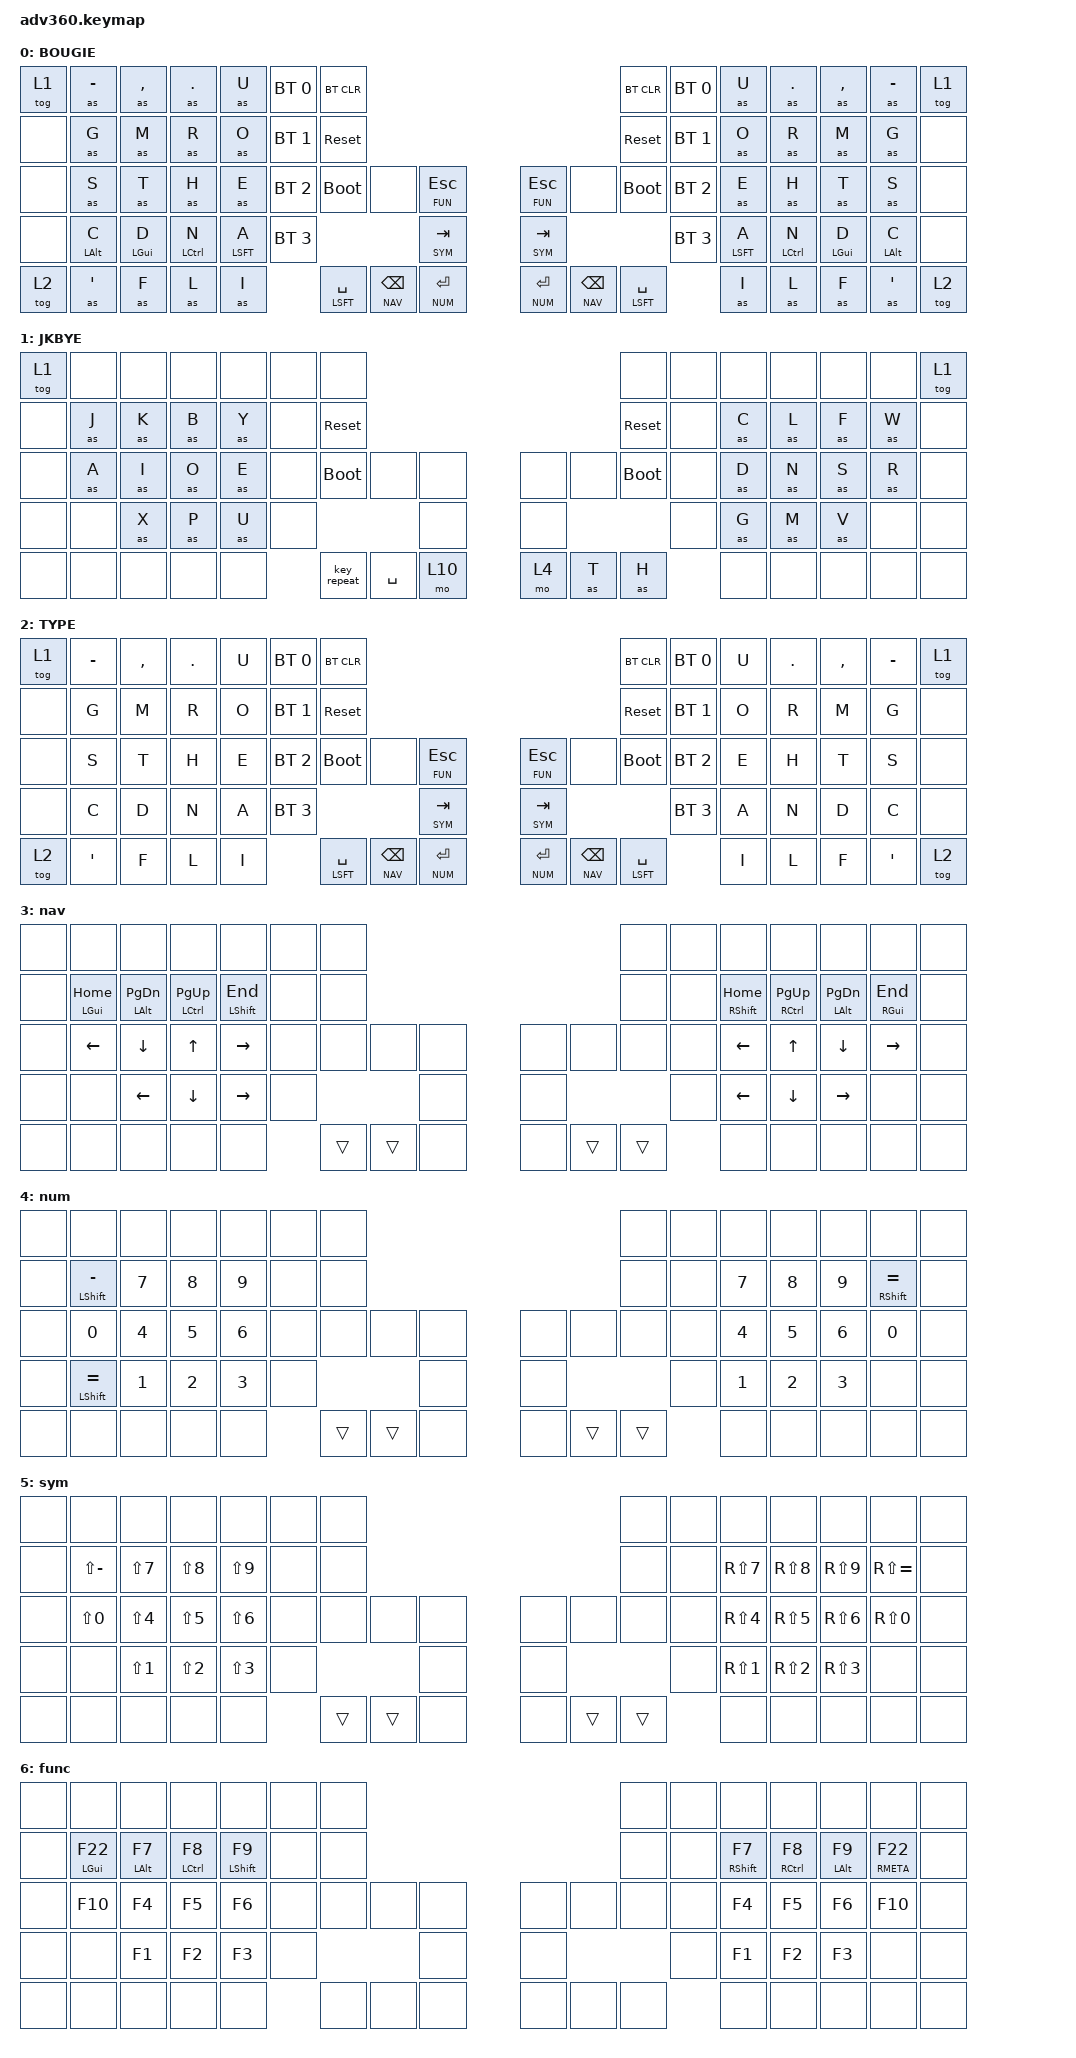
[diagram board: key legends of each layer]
#include <dt-bindings/zmk/stp.h>
#include <behaviors.dtsi>
#include <dt-bindings/zmk/backlight.h>
#include <dt-bindings/zmk/bt.h>
#include <dt-bindings/zmk/ext_power.h>
#include <dt-bindings/zmk/keys.h>
#include <dt-bindings/zmk/outputs.h>


/* =========================
 *  BOUGIE KEYS — LEFT HAND
 *  Rows: Top=row 3, Home=row 2, Bottom=row 1
 *  Columns used on left: 1..4
 * ========================= */
#define TLP 15  /* RC(3,1)  top-left pinky   */
#define TLR 16  /* RC(3,2)  top-left ring    */
#define TLM 17  /* RC(3,3)  top-left middle  */
#define TLI 18  /* RC(3,4)  top-left index   */

#define HLP 29  /* RC(2,1)  home-left pinky  */
#define HLR 30  /* RC(2,2)  home-left ring   */
#define HLM 31  /* RC(2,3)  home-left middle */
#define HLI 32  /* RC(2,4)  home-left index  */

#define BLP 47  /* RC(1,1)  bottom-left pinky */
#define BLR 48  /* RC(1,2)  bottom-left ring  */
#define BLM 49  /* RC(1,3)  bottom-left middle*/
#define BLI 50  /* RC(1,4)  bottom-left index */

/* =========================
 *  BOUGIE KEYS — RIGHT HAND
 *  Rows: Top=row 3, Home=row 2, Bottom=row 1
 *  Right side ordered outer→inner: cols 19..16
 * ========================= */
#define TRP 26  /* RC(3,19) top-right pinky  */
#define TRR 25  /* RC(3,18) top-right ring   */
#define TRM 24  /* RC(3,17) top-right middle */
#define TRI 23  /* RC(3,16) top-right index  */

#define HRP 44  /* RC(2,19) home-right pinky */
#define HRR 43  /* RC(2,18) home-right ring  */
#define HRM 42  /* RC(2,17) home-right middle*/
#define HRI 41  /* RC(2,16) home-right index */

#define BRP 58  /* RC(1,19) bottom-right pinky */
#define BRR 57  /* RC(1,18) bottom-right ring  */
#define BRM 56  /* RC(1,17) bottom-right middle*/
#define BRI 55  /* RC(1,16) bottom-right index */

/* =========================
 *  THUMBS — 3 per hand (inner, outer, center)
 *  Left:  RC(0,9)=inner, RC(0,7)=outer, RC(0,8)=center
 *  Right: mirror → RC(0,16)=inner, RC(0,15)=outer, RC(0,17)=center
 * ========================= */
#define LIT 67  /* RC(0,9)  left inner thumb  */
#define LOT 65  /* RC(0,7)  left outer thumb  */
#define LCT 66  /* RC(0,8)  left center thumb */

#define RIT 68  /* RC(0,16) right inner thumb */
#define ROT 70  /* RC(0,15) right outer thumb */
#define RCT 69  /* RC(0,17) right center thumb */

/* =========================
 *  FUTURE THUMBS: T4 / T5 / T6
 *  T4: row 1, outer  → RC(1,9) / RC(1,10)
 *  T5: row 2, outer  → RC(2,8) / RC(2,11)
 *  T6: row 2, inner  → RC(2,9) / RC(2,10)
 * ========================= */
#define L4T 52  /* RC(1,9)  left T4 */
#define R4T 53  /* RC(1,10) right T4 */

#define L5T 35  /* RC(2,8)  left T5 */
#define R5T 38  /* RC(2,11) right T5 */

#define L6T 36  /* RC(2,9)  left T6 */
#define R6T 37  /* RC(2,10) right T6 */

// LAYERS
#define BOU  0
#define JKB  1
#define TYP  2
#define NAV  3
#define NUM  4
#define SYM  5
#define FUN  6

// CONFIG
#define COMBO_TIMEOUT 70
#define COMBO_LAYERS BOU
#define STICKY_TIMEOUT 1000
#define QUICK_TAP_TIMEOUT 125
#define HOLD_TAP_TIMEOUT 195

&gresc { keep-mods = <(MOD_LSFT|MOD_RSFT)>; };

/ {
    behaviors {
        #include "behaviors.dtsi"
        #include "kinesis_macros.dtsi"
        #include "version.dtsi"
    };

    macros {
        #include "macros.dtsi"
    };

    combos {
        compatible = "zmk,combos";
        #include "combos.dtsi"
    };

    keymap {
        compatible = "zmk,keymap";

        bougie {
            display-name = "BOUGIE";
            bindings = <
&tog 1  &as MINUS   &as COMMA   &as DOT     &as U       &bt BT_SEL 0  &bt BT_CLR                                                                                    &bt BT_CLR       &bt BT_SEL 0  &as U       &as DOT     &as COMMA   &as MINUS   &tog 1
&none   &as G       &as M       &as R       &as O       &bt BT_SEL 1  &sys_reset                                                                                    &sys_reset       &bt BT_SEL 1  &as O       &as R       &as M       &as G       &none
&none   &as S       &as T       &as H       &as E       &bt BT_SEL 2  &bootloader     &none              &lt FUN ESCAPE          &lt FUN ESCAPE  &none              &bootloader      &bt BT_SEL 2  &as E       &as H       &as T       &as S       &none
&none   &mt LALT C  &mt LGUI D  &mt LCTL N  &mt LSFT A  &bt BT_SEL 3                                     &lt SYM TAB             &lt SYM TAB                                         &bt BT_SEL 3  &mt LSFT A  &mt LCTL N  &mt LGUI D  &mt LALT C  &none
&tog 2  &as APOS    &as F       &as L       &as I                     &mt LSFT SPACE  &lt NAV BACKSPACE  &lt NUM RETURN          &lt NUM RETURN  &lt NAV BACKSPACE  &mt LSFT SPACE                 &as I       &as L       &as F       &as APOS    &tog 2
            >;
        };

        jkbye {
            display-name = "JKBYE";
            bindings = <
&tog 1  &none  &none  &none  &none  &none  &none                                             &none        &none  &none  &none  &none  &none  &tog 1
&none   &as J  &as K  &as B  &as Y  &none  &sys_reset                                        &sys_reset   &none  &as C  &as L  &as F  &as W  &none
&none   &as A  &as I  &as O  &as E  &none  &bootloader  &none      &none       &none  &none  &bootloader  &none  &as D  &as N  &as S  &as R  &none
&none   &none  &as X  &as P  &as U  &none                          &none       &none                      &none  &as G  &as M  &as V  &none  &none
&none   &none  &none  &none  &none         &key_repeat  &kp SPACE  &mo 10      &mo 4  &as T  &as H               &none  &none  &none  &none  &none
            >;
        };

        typing {
            display-name = "TYPE";
            bindings = <
&tog 1  &kp MINUS   &kp COMMA   &kp DOT     &kp U       &bt BT_SEL 0  &bt BT_CLR                                                                                    &bt BT_CLR       &bt BT_SEL 0  &kp U       &kp DOT     &kp COMMA   &kp MINUS   &tog 1
&none   &kp G       &kp M       &kp R       &kp O       &bt BT_SEL 1  &sys_reset                                                                                    &sys_reset       &bt BT_SEL 1  &kp O       &kp R       &kp M       &kp G       &none
&none   &kp S       &kp T       &kp H       &kp E       &bt BT_SEL 2  &bootloader     &none              &lt FUN ESCAPE          &lt FUN ESCAPE  &none              &bootloader      &bt BT_SEL 2  &kp E       &kp H       &kp T       &kp S       &none
&none   &kp C       &kp D       &kp N       &kp A       &bt BT_SEL 3                                     &lt SYM TAB             &lt SYM TAB                                         &bt BT_SEL 3  &kp A       &kp N       &kp D       &kp C       &none
&tog 2  &kp APOS    &kp F       &kp L       &kp I                     &mt LSFT SPACE  &lt NAV BACKSPACE  &lt NUM RETURN          &lt NUM RETURN  &lt NAV BACKSPACE  &mt LSFT SPACE                 &kp I       &kp L       &kp F       &kp APOS    &tog 2
            >;
        };

        nav {
            bindings = <
&none  &none              &none               &none                   &none               &none  &none                                     &none   &none  &none                 &none                    &none                   &none              &none
&none  &mt LEFT_GUI HOME  &mt LEFT_ALT PG_DN  &mt LEFT_CONTROL PG_UP  &mt LEFT_SHIFT END  &none  &none                                     &none   &none  &mt RIGHT_SHIFT HOME  &mt RIGHT_CONTROL PG_UP  &mt LEFT_ALT PAGE_DOWN  &mt RIGHT_GUI END  &none
&none  &kp LEFT           &kp DOWN            &kp UP                  &kp RIGHT           &none  &none   &none   &none      &none  &none   &none   &none  &kp LEFT              &kp UP                   &kp DOWN                &kp RIGHT          &none
&none  &none              &kp LEFT            &kp DOWN                &kp RIGHT           &none                  &none      &none                  &none  &kp LEFT              &kp DOWN                 &kp RIGHT               &none              &none
&none  &none              &none               &none                   &none                      &trans  &trans  &none      &none  &trans  &trans         &none                 &none                    &none                   &none              &none
            >;
        };
        
        num {
            display-name = "num";
            bindings = <
&none  &none                 &none   &none   &none   &none  &none                                     &none   &none  &none         &none   &none   &none                  &none
&none  &mt LEFT_SHIFT MINUS  &kp N7  &kp N8  &kp N9  &none  &none                                     &none   &none  &kp N7        &kp N8  &kp N9  &mt RIGHT_SHIFT EQUAL  &none
&none  &kp N0                &kp N4  &kp N5  &kp N6  &none  &none   &none   &none      &none  &none   &none   &none  &kp NUMBER_4  &kp N5  &kp N6  &kp N0                 &none
&none  &mt LEFT_SHIFT EQUAL  &kp N1  &kp N2  &kp N3  &none                  &none      &none                  &none  &kp NUMBER_1  &kp N2  &kp N3  &none                  &none
&none  &none                 &none   &none   &none          &trans  &trans  &none      &none  &trans  &trans         &none         &none   &none   &none                  &none
            >;
        };

        sym {
            display-name = "sym";
            bindings = <
&none  &none          &none       &none       &none       &none  &none                                     &none   &none  &none       &none       &none       &none          &none
&none  &kp LS(MINUS)  &kp LS(N7)  &kp LS(N8)  &kp LS(N9)  &none  &none                                     &none   &none  &kp RS(N7)  &kp RS(N8)  &kp RS(N9)  &kp RS(EQUAL)  &none
&none  &kp LS(N0)     &kp LS(N4)  &kp LS(N5)  &kp LS(N6)  &none  &none   &none   &none      &none  &none   &none   &none  &kp RS(N4)  &kp RS(N5)  &kp RS(N6)  &kp RS(N0)     &none
&none  &none          &kp LS(N1)  &kp LS(N2)  &kp LS(N3)  &none                  &none      &none                  &none  &kp RS(N1)  &kp RS(N2)  &kp RS(N3)  &none          &none
&none  &none          &none       &none       &none              &trans  &trans  &none      &none  &trans  &trans         &none       &none       &none       &none          &none
            >;
        };

        func {
            display-name = "func";
            bindings = <
&none  &none             &none        &none         &none          &none  &none                                  &none  &none  &none          &none         &none        &none          &none
&none  &mt LEFT_GUI F22  &mt LALT F7  &mt LCTRL F8  &mt LSHIFT F9  &none  &none                                  &none  &none  &mt RSHIFT F7  &mt RCTRL F8  &mt LALT F9  &mt RMETA F22  &none
&none  &kp F10           &kp F4       &kp F5        &kp F6         &none  &none  &none  &none      &none  &none  &none  &none  &kp F4         &kp F5        &kp F6       &kp F10        &none
&none  &none             &kp F1       &kp F2        &kp F3         &none                &none      &none                &none  &kp F1         &kp F2        &kp F3       &none          &none
&none  &none             &none        &none         &none                 &none  &none  &none      &none  &none  &none         &none          &none         &none        &none          &none
            >;
        };
    };
};
